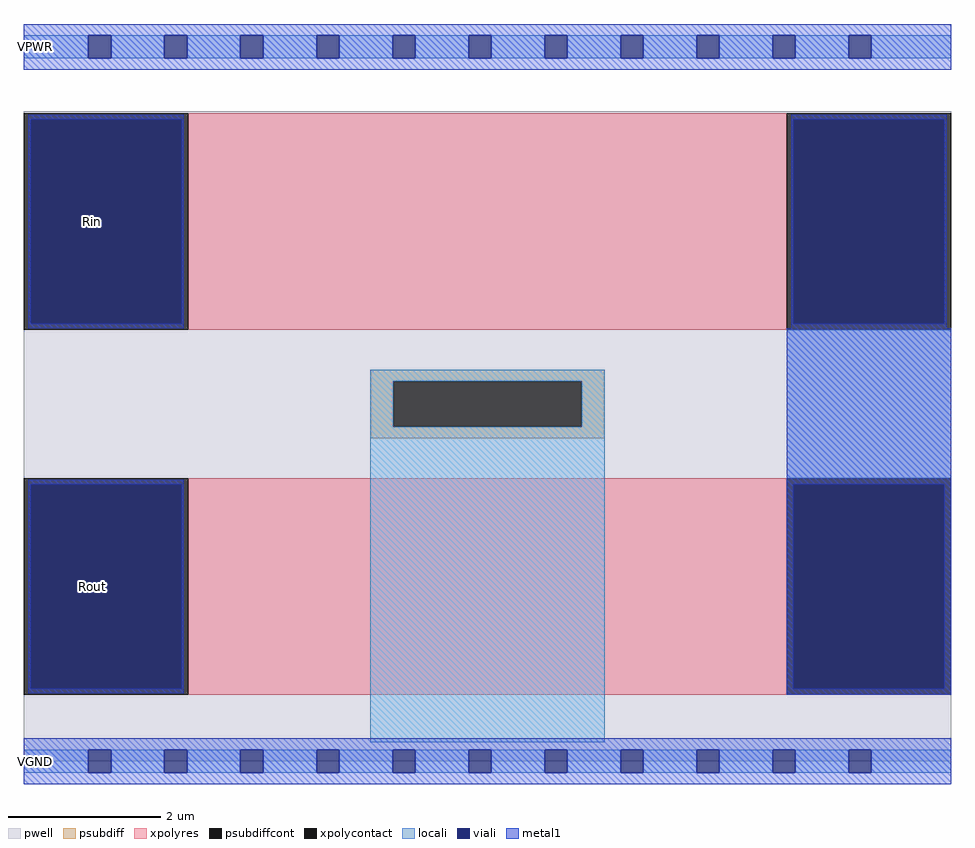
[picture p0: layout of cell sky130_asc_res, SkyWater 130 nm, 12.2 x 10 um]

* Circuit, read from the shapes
.subckt sky130_asc_res Rin Rout VPWR VGND
XR1 n1 Rout VSUBS sky130_fd_pr__res_xhigh_po w=2.85 l=7.88
XR2 n1 Rin VSUBS sky130_fd_pr__res_xhigh_po w=2.85 l=7.88
.ends

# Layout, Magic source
magic
tech sky130A
magscale 1 2
<< pwell >>
rect 0 0 2440 1710
<< psubdiff >>
rect 912 1000 1528 1030
rect 912 880 972 1000
rect 1468 880 1528 1000
rect 912 850 1528 880
<< psubdiffcont >>
rect 972 880 1468 1000
<< xpolycontact >>
rect 0 1135 432 1705
rect 2008 1135 2440 1705
rect 0 175 432 745
rect 2008 175 2440 745
<< xpolyres >>
rect 432 1135 2008 1705
rect 432 175 2008 745
<< locali >>
rect 0 1850 170 1910
rect 230 1850 370 1910
rect 430 1850 570 1910
rect 630 1850 770 1910
rect 830 1850 970 1910
rect 1030 1850 1170 1910
rect 1230 1850 1370 1910
rect 1430 1850 1570 1910
rect 1630 1850 1770 1910
rect 1830 1850 1970 1910
rect 2030 1850 2170 1910
rect 2230 1850 2440 1910
rect 912 1000 1528 1030
rect 912 880 972 1000
rect 1468 880 1528 1000
rect 912 50 1528 880
rect 2008 745 2440 1135
rect 0 -30 170 30
rect 230 -30 370 30
rect 430 -30 570 30
rect 630 -30 770 30
rect 830 -30 970 30
rect 1030 -30 1170 30
rect 1230 -30 1370 30
rect 1430 -30 1570 30
rect 1630 -30 1770 30
rect 1830 -30 1970 30
rect 2030 -30 2170 30
rect 2230 -30 2440 30
<< viali >>
rect 170 1850 230 1910
rect 370 1850 430 1910
rect 570 1850 630 1910
rect 770 1850 830 1910
rect 970 1850 1030 1910
rect 1170 1850 1230 1910
rect 1370 1850 1430 1910
rect 1570 1850 1630 1910
rect 1770 1850 1830 1910
rect 1970 1850 2030 1910
rect 2170 1850 2230 1910
rect 18 1151 415 1689
rect 2025 1151 2422 1689
rect 18 191 415 729
rect 2025 191 2422 729
rect 170 -30 230 30
rect 370 -30 430 30
rect 570 -30 630 30
rect 770 -30 830 30
rect 970 -30 1030 30
rect 1170 -30 1230 30
rect 1370 -30 1430 30
rect 1570 -30 1630 30
rect 1770 -30 1830 30
rect 1970 -30 2030 30
rect 2170 -30 2230 30
<< metal1 >>
rect 0 1910 2440 1940
rect 0 1850 170 1910
rect 230 1850 370 1910
rect 430 1850 570 1910
rect 630 1850 770 1910
rect 830 1850 970 1910
rect 1030 1850 1170 1910
rect 1230 1850 1370 1910
rect 1430 1850 1570 1910
rect 1630 1850 1770 1910
rect 1830 1850 1970 1910
rect 2030 1850 2170 1910
rect 2230 1850 2440 1910
rect 0 1820 2440 1850
rect 11 1689 421 1701
rect 11 1151 18 1689
rect 415 1151 421 1689
rect 11 1139 421 1151
rect 2019 1689 2429 1701
rect 2019 1151 2025 1689
rect 2422 1151 2429 1689
rect 2019 1139 2429 1151
rect 11 729 421 741
rect 11 191 18 729
rect 415 191 421 729
rect 11 179 421 191
rect 2008 729 2440 1139
rect 2008 191 2025 729
rect 2422 191 2440 729
rect 2008 175 2440 191
rect 0 30 2440 60
rect 0 -30 170 30
rect 230 -30 370 30
rect 430 -30 570 30
rect 630 -30 770 30
rect 830 -30 970 30
rect 1030 -30 1170 30
rect 1230 -30 1370 30
rect 1430 -30 1570 30
rect 1630 -30 1770 30
rect 1830 -30 1970 30
rect 2030 -30 2170 30
rect 2230 -30 2440 30
rect 0 -60 2440 -30
<< labels >>
flabel metal1 120 1360 240 1480 1 FreeSans 480 0 0 0 Rin
port 1 n default bidirectional
flabel metal1 120 400 240 520 1 FreeSans 480 0 0 0 Rout
port 2 n default bidirectional
flabel metal1 0 1850 60 1910 1 FreeSans 800 0 0 0 VPWR
port 3 n power bidirectional
flabel metal1 0 -30 60 30 1 FreeSans 800 0 0 0 VGND
port 4 n ground bidirectional
<< properties >>
string FIXED_BBOX 0 0 2440 1880
string LEFclass CORE
string LEFsite unitasc
<< end >>
